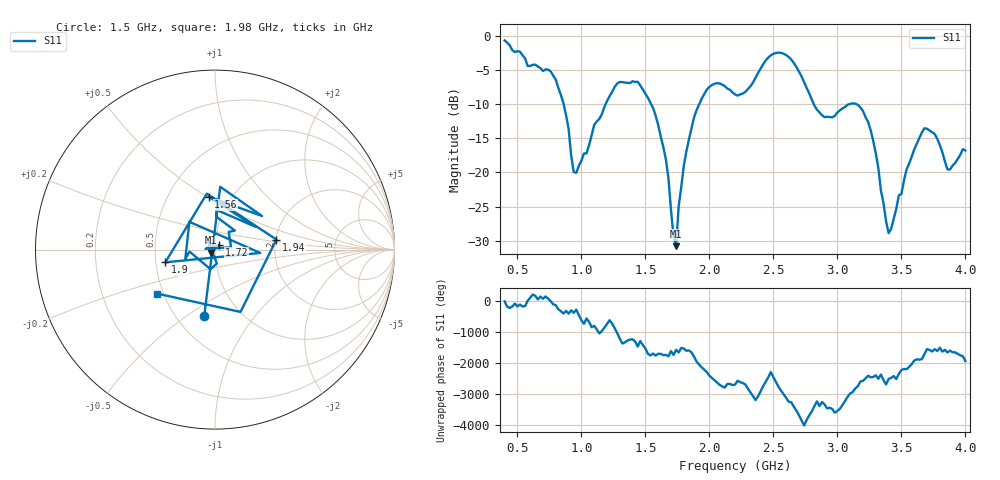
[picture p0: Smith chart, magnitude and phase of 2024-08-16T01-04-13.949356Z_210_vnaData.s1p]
!Created with skrf (http://scikit-rf.org).
# Hz S RI R 50.0
!freq ReS11 ImS11
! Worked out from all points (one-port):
!   181 points, 400 MHz to 4 GHz, reference 50 ohm
!   lowest |S11| = -30.8 dB at 1.74 GHz (marker M1), VSWR 1.06, Z = 47.7 - j1.68 ohm
!   |S11| at or under -10 dB: 861.1 MHz to 1.19 GHz (328.5 MHz wide, 32 % of centre); 1.544 GHz to 1.921 GHz (376.4 MHz wide, 21.7 % of centre); 3.148 GHz to end of sweep (the widest 3 of 4)
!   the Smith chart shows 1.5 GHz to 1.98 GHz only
!   S11 on the Smith chart (normalised r, x): 1.5 GHz: 0.68, -0.59; 1.56 GHz: 0.79, +0.51; 1.72 GHz: 1.04, +0.05; 1.9 GHz: 0.56, -0.09; 1.94 GHz: 2.02, +0.26; 1.98 GHz: 0.46, -0.27
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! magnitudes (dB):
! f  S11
! 400 MHz  -0.7
! 760 MHz  -5.2
! 860 MHz  -9.9
! 940 MHz  -19.9
! 960 MHz  -20.1
! 1.3 GHz  -6.8
! 1.5 GHz  -8.5
! 1.56 GHz  -10.6
! 1.66 GHz  -18.1
! 1.72 GHz  -29.4
! 1.74 GHz  -30.8
! 1.76 GHz  -24.9
! 1.82 GHz  -16.9
! 1.9 GHz  -10.9
! 1.94 GHz  -9.2
! 1.98 GHz  -7.9
! 2.2 GHz  -8.6
! 2.5 GHz  -2.6
! 2.66 GHz  -4.0
! 2.9 GHz  -11.9
! 3.1 GHz  -10.0
! 3.26 GHz  -13.8
! 3.4 GHz  -28.9
! 3.56 GHz  -18.7
! 3.68 GHz  -13.5
! 3.76 GHz  -14.4
! 3.86 GHz  -19.6
! 4 GHz  -16.8
